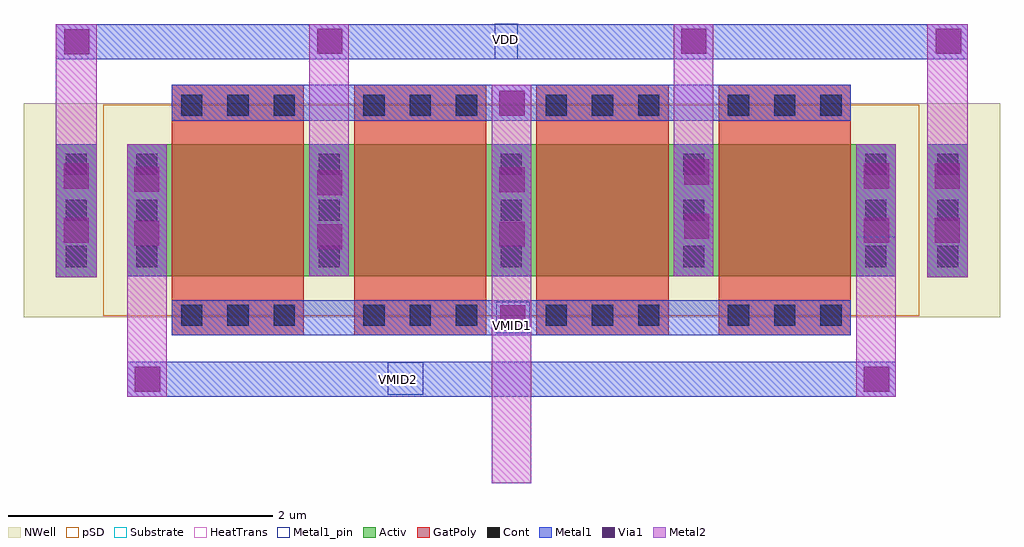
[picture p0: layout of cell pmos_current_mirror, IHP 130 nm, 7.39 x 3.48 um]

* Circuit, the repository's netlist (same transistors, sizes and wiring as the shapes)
* Extracted by KLayout with SG13G2 LVS runset on : 26/04/2024 16:29

* cell pmos_current_mirror
* pin VMID1
* pin VMID2
* pin VDD
.SUBCKT pmos_current_mirror VMID1 VMID2 VDD
* device instance $1 r0 *1 1.307,10.065 sg13_lv_pmos
M$1 VMID2 VMID1 VDD VDD sg13_lv_pmos W=2.0 L=1.0
* device instance $2 r0 *1 2.687,10.065 sg13_lv_pmos
M$2 VDD VMID1 VMID1 VDD sg13_lv_pmos W=2.0 L=1.0
.ENDS pmos_current_mirror

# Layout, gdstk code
from math import pi, radians
import gdstk
lib = gdstk.Library(unit=1e-6, precision=1e-09)
def R(c, l, rs):  # rectangles x0, y0, x1, y1
    for r in rs: c.add(gdstk.rectangle(r[:2], r[2:], *l))
def A(c, l, x, y, w, h, nx, ny, dx, dy):  # array of equal rectangles
    R(c, l, [(x+i*dx, y+j*dy, x+i*dx+w, y+j*dy+h) for i in range(nx) for j in range(ny)])
Activ = (1, 0)
GatPoly = (5, 0)
Cont = (6, 0)
Metal1 = (8, 0)
Metal1_pin = (8, 2)
Metal2 = (10, 0)
pSD = (14, 0)
Via1 = (19, 0)
NWell = (31, 0)
Substrate = (40, 0)
HeatTrans = (51, 0)

via_1 = lib.new_cell('Via$1')
A(via_1, Cont, 0, 0, 0.16, 0.16, 1, 3, 0, 0.35)

pmos_1 = lib.new_cell('pmos$1')
A(pmos_1, Activ, 0, 0, 0.3, 0.3, 5, 1, 1.38, 0)
R(pmos_1, Activ, [(0,0,5.82,1)])
A(pmos_1, GatPoly, 0.34, -0.18, 1, 1.36, 4, 1, 1.38, 0)
R(pmos_1, GatPoly, [(0.34,-0.18,1.34,1.18), (0.34,-0.18,1.34,1.18)])
A(pmos_1, Cont, 0.07, 0.07, 0.16, 0.16, 5, 3, 1.38, 0.35)
A(pmos_1, Metal1, 1.45, 0, 0.16, 1, 4, 1, 1.38, 0)
R(pmos_1, Metal1, [(0.07,0,0.23,1), (0.07,0,0.23,1), (0.07,0,0.23,1), (1.45,0,1.61,1), (1.45,0,1.61,1)])
R(pmos_1, pSD, [(-0.18,-0.3,6,1.3)])
R(pmos_1, NWell, [(-0.31,-0.31,6.13,1.31)])
R(pmos_1, Substrate, [(5.52,0,5.82,0.3), (5.52,0,5.82,0.3)])
A(pmos_1, HeatTrans, 0.34, -0.18, 1, 1.36, 4, 1, 1.38, 0)
pmos_1.add(gdstk.Label('pmos', (0.84,0.5), layer=51, texttype=0))
pmos_1.add(gdstk.Label('pmos', (2.22,0.5), layer=51, texttype=0))
pmos_1.add(gdstk.Label('pmos', (3.6,0.5), layer=51, texttype=0))
pmos_1.add(gdstk.Label('pmos', (4.98,0.5), layer=51, texttype=0))
pmos_1.add(gdstk.Label('pmos', (0.84,0.5), layer=63, texttype=0))

pmos_current_mirror = lib.new_cell('pmos_current_mirror')
R(pmos_current_mirror, Activ, [(-0.075,9.56,0.235,10.565), (6.525,9.56,6.83,10.565)])
A(pmos_current_mirror, GatPoly, 0.805, 9.12, 1, 0.265, 4, 1, 1.38, 0)
A(pmos_current_mirror, GatPoly, 0.805, 10.745, 1, 0.27, 4, 1, 1.38, 0)
A(pmos_current_mirror, Cont, 0, 9.635, 0.16, 0.16, 1, 3, 0, 0.35)
A(pmos_current_mirror, Cont, 6.6, 9.635, 0.16, 0.16, 1, 3, 0, 0.35)
A(pmos_current_mirror, Metal1, 0.465, 9.565, 0.3, 1, 5, 1, 1.38, 0)
R(pmos_current_mirror, Metal1, [(0.465,8.655,6.285,8.92), (0.805,9.12,5.945,9.385), (-0.075,9.56,0.235,10.565), (6.525,9.56,6.83,10.565), (0.805,10.745,5.945,11.015), (-0.075,11.21,6.83,11.475)])
R(pmos_current_mirror, Metal1_pin, [(2.441,8.669,2.707,8.916), (3.262,9.134,3.513,9.373), (3.25,11.21,3.425,11.476)])
R(pmos_current_mirror, Metal2, [(3.225,8,3.525,11.015), (0.465,8.655,0.765,10.565), (5.985,8.655,6.285,10.565), (-0.075,9.56,0.235,11.475), (6.525,9.56,6.83,11.475), (1.845,9.565,2.145,11.475), (4.605,9.565,4.905,11.475)])
R(pmos_current_mirror, Via1, [(0.525,8.69,0.715,8.88), (6.045,8.69,6.235,8.88), (3.29,9.155,3.48,9.345), (1.905,9.77,2.095,9.96), (3.285,9.79,3.475,9.98), (0.52,9.795,0.71,9.985), (-0.015,9.82,0.175,10.01), (6.045,9.82,6.235,10.01), (6.58,9.82,6.77,10.01), (4.685,9.85,4.875,10.04), (1.905,10.18,2.095,10.37), (3.285,10.2,3.475,10.39), (0.52,10.205,0.71,10.395), (-0.015,10.23,0.175,10.42), (6.045,10.23,6.235,10.42), (6.58,10.23,6.77,10.42), (4.685,10.26,4.875,10.45), (3.285,10.78,3.475,10.97), (-0.01,11.245,0.18,11.435), (1.905,11.25,2.095,11.44), (4.66,11.25,4.85,11.44), (6.59,11.25,6.78,11.44)])
R(pmos_current_mirror, NWell, [(-0.315,9.255,0.155,10.875), (6.595,9.255,7.075,10.875)])
pmos_current_mirror.add(gdstk.Reference(via_1, (0.875,9.35), rotation=3*pi/2))
pmos_current_mirror.add(gdstk.Reference(via_1, (2.255,9.35), rotation=3*pi/2))
pmos_current_mirror.add(gdstk.Reference(via_1, (3.635,9.35), rotation=3*pi/2))
pmos_current_mirror.add(gdstk.Reference(via_1, (5.015,9.35), rotation=3*pi/2))
pmos_current_mirror.add(gdstk.Reference(via_1, (2.255,10.94), rotation=3*pi/2))
pmos_current_mirror.add(gdstk.Reference(via_1, (5.015,10.94), rotation=3*pi/2))
pmos_current_mirror.add(gdstk.Reference(via_1, (3.635,10.94), rotation=3*pi/2))
pmos_current_mirror.add(gdstk.Reference(via_1, (0.875,10.94), rotation=3*pi/2))
pmos_current_mirror.add(gdstk.Reference(pmos_1, (0.465,9.565)))
pmos_current_mirror.add(gdstk.Label('VMID1', (3.385,9.192), layer=8, texttype=1))
pmos_current_mirror.add(gdstk.Label('VMID2', (2.524,8.786), layer=8, texttype=1))
pmos_current_mirror.add(gdstk.Label('VDD', (3.334,11.359), layer=8, texttype=1))

lib.write_gds('pmos_current_mirror.gds')
